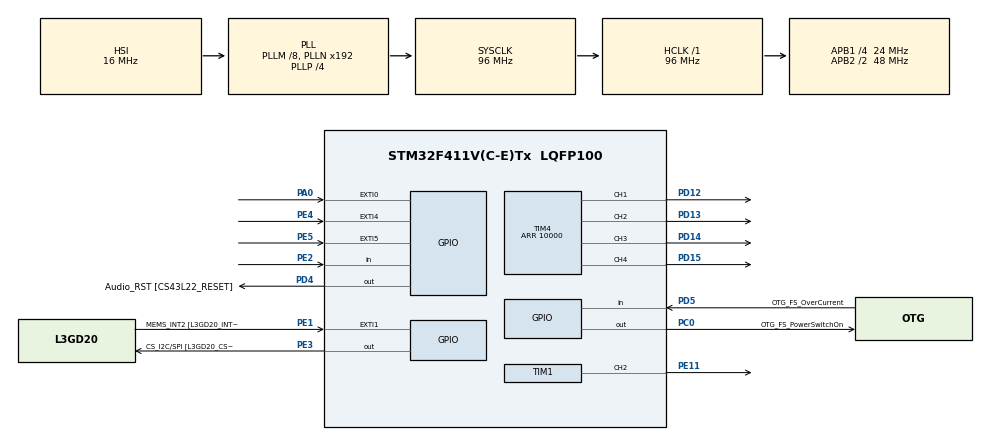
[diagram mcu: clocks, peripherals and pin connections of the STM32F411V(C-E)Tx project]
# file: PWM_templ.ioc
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Mcu.Family=STM32F4
Mcu.Name=STM32F411V(C-E)Tx
Mcu.Package=LQFP100
NVIC.PriorityGroup=NVIC_PRIORITYGROUP_0
NVIC.TIM4_IRQn=true\:0\:0\:false\:false\:true\:true\:true\:true
PA0-WKUP.GPIO_ModeDefaultEXTI=GPIO_MODE_EVT_RISING
PA0-WKUP.Signal=GPXTI0
PA10.GPIO_Label=OTG_FS_ID
PA10.Signal=USB_OTG_FS_ID
PA11.GPIO_Label=OTG_FS_DM
PA11.Signal=USB_OTG_FS_DM
PA12.GPIO_Label=OTG_FS_DP
PA12.Signal=USB_OTG_FS_DP
PA13.GPIO_Label=SWDIO
PA13.Signal=SYS_JTMS-SWDIO
PA14.GPIO_Label=SWCLK
PA14.Signal=SYS_JTCK-SWCLK
PA4.GPIO_Label=I2S3_WS [CS43L22_LRCK]
PA4.GPIO_Mode=GPIO_MODE_AF_PP
PA4.GPIO_PuPd=GPIO_NOPULL
PA4.GPIO_Speed=GPIO_SPEED_FREQ_LOW
PA4.Signal=I2S3_WS
PA5.GPIO_Label=SPI1_SCK [L3GD20_SC/SPC]
PA5.Signal=SPI1_SCK
PA6.GPIO_Label=SPI1_MISO [L3GD20_AS0/SDO]
PA6.Signal=SPI1_MISO
PA7.GPIO_Label=SPI1_MOSI [L3GD20_SDA/SDI/SDO]
PA7.Signal=SPI1_MOSI
PA9.GPIO_Label=VBUS_FS
PA9.Signal=USB_OTG_FS_VBUS
PB10.GPIO_Label=CLK_IN [MP45DT02_CLK]
PB10.Signal=I2S2_CK
PB12.Signal=I2S2_WS
PB3.GPIO_Label=SWO
PB3.Signal=SYS_JTDO-SWO
PB6.GPIO_Label=Audio_SCL [CS43L22_SCL]
PB6.GPIO_Mode=GPIO_MODE_AF_OD
PB6.GPIO_PuPd=GPIO_NOPULL
PB6.GPIO_Speed=GPIO_SPEED_FREQ_LOW
PB6.Signal=I2C1_SCL
PB9.GPIO_Label=Audio_SDA [CS43L22_SDA]
PB9.GPIO_Mode=GPIO_MODE_AF_OD
PB9.GPIO_PuPd=GPIO_NOPULL
PB9.GPIO_Speed=GPIO_SPEED_FREQ_LOW
PB9.Signal=I2C1_SDA
PC0.GPIO_Label=OTG_FS_PowerSwitchOn
PC0.PinState=GPIO_PIN_SET
PC0.Signal=GPIO_Output
PC10.GPIO_Label=I2S3_SCK [CS43L22_SCLK]
PC10.GPIO_Mode=GPIO_MODE_AF_PP
PC10.GPIO_PuPd=GPIO_NOPULL
PC10.GPIO_Speed=GPIO_SPEED_FREQ_LOW
PC10.Signal=I2S3_CK
PC12.GPIO_Label=I2S3_SD [CS43L22_SDIN]
PC12.GPIO_Mode=GPIO_MODE_AF_PP
PC12.GPIO_PuPd=GPIO_NOPULL
PC12.GPIO_Speed=GPIO_SPEED_FREQ_LOW
PC12.Signal=I2S3_SD
PC14-OSC32_IN.GPIO_Label=PC14-OSC32_IN
PC14-OSC32_IN.Signal=RCC_OSC32_IN
PC15-OSC32_OUT.GPIO_Label=PC15-OSC32_OUT
PC15-OSC32_OUT.Signal=RCC_OSC32_OUT
PC3.GPIO_Label=PDM_OUT [MP45DT02_DOUT]
PC3.Signal=I2S2_SD
PC7.GPIO_Label=I2S3_MCK [CS43L22_MCLK]
PC7.GPIO_Mode=GPIO_MODE_AF_PP
PC7.GPIO_PuPd=GPIO_NOPULL
PC7.GPIO_Speed=GPIO_SPEED_FREQ_LOW
PC7.Signal=I2S3_MCK
PD12.GPIO_Speed=GPIO_SPEED_FREQ_HIGH
PD12.Signal=S_TIM4_CH1
PD13.GPIO_Speed=GPIO_SPEED_FREQ_HIGH
PD13.Signal=S_TIM4_CH2
PD14.GPIO_Speed=GPIO_SPEED_FREQ_HIGH
PD14.Signal=S_TIM4_CH3
PD15.GPIO_Speed=GPIO_SPEED_FREQ_HIGH
PD15.Signal=S_TIM4_CH4
PD4.GPIO_Label=Audio_RST [CS43L22_RESET]
PD4.Signal=GPIO_Output
PD5.GPIO_Label=OTG_FS_OverCurrent
PD5.Signal=GPIO_Input
PE1.GPIO_Label=MEMS_INT2 [L3GD20_INT2]
PE1.GPIO_ModeDefaultEXTI=GPIO_MODE_EVT_RISING
PE1.Signal=GPXTI1
PE11.Signal=S_TIM1_CH2
PE2.Signal=GPIO_Input
PE3.GPIO_Label=CS_I2C/SPI [L3GD20_CS_I2C/SPI]
PE3.Signal=GPIO_Output
PE4.GPIO_ModeDefaultEXTI=GPIO_MODE_EVT_RISING
PE4.Signal=GPXTI4
PE5.GPIO_ModeDefaultEXTI=GPIO_MODE_EVT_RISING
PE5.Signal=GPXTI5
PH0\ -\ OSC_IN.GPIO_Label=PH0-OSC_IN
PH0\ -\ OSC_IN.Signal=RCC_OSC_IN
PH1\ -\ OSC_OUT.GPIO_Label=PH1-OSC_OUT
PH1\ -\ OSC_OUT.Signal=RCC_OSC_OUT
ProjectManager.HeapSize=0x200
ProjectManager.StackSize=0x400
ProjectManager.TargetToolchain=STM32CubeIDE
RCC.48MHZClocksFreq_Value=48000000
RCC.AHBFreq_Value=96000000
RCC.APB1CLKDivider=RCC_HCLK_DIV4
RCC.APB1Freq_Value=24000000
RCC.APB1TimFreq_Value=48000000
RCC.APB2CLKDivider=RCC_HCLK_DIV2
RCC.APB2Freq_Value=48000000
RCC.APB2TimFreq_Value=96000000
RCC.CortexFreq_Value=96000000
RCC.HCLKFreq_Value=96000000
RCC.HSE_VALUE=8000000
RCC.HSI_VALUE=16000000
RCC.LSE_VALUE=32768
RCC.PLLI2SM=5
RCC.PLLI2SN=200
RCC.PLLM=8
RCC.PLLP=RCC_PLLP_DIV4
RCC.PLLQ=8
RCC.SYSCLKFreq_VALUE=96000000
RCC.SYSCLKSource=RCC_SYSCLKSOURCE_PLLCLK
RCC.VCOOutputFreq_Value=384000000
SH.S_TIM1_CH2.0=TIM1_CH2,PWM Generation2 CH2
SH.S_TIM4_CH1.0=TIM4_CH1,PWM Generation1 CH1
SH.S_TIM4_CH2.0=TIM4_CH2,PWM Generation2 CH2
SH.S_TIM4_CH3.0=TIM4_CH3,PWM Generation3 CH3
SH.S_TIM4_CH4.0=TIM4_CH4,PWM Generation4 CH4
TIM1.Channel-PWM\ Generation2\ CH2=TIM_CHANNEL_2
TIM1.Period=20000
TIM1.Prescaler=95
TIM1.Pulse-PWM\ Generation2\ CH2=1000
TIM4.Channel-PWM\ Generation1\ CH1=TIM_CHANNEL_1
TIM4.Channel-PWM\ Generation2\ CH2=TIM_CHANNEL_2
TIM4.Channel-PWM\ Generation3\ CH3=TIM_CHANNEL_3
TIM4.Channel-PWM\ Generation4\ CH4=TIM_CHANNEL_4
TIM4.Period=10000
VP_TIM4_VS_ClockSourceINT.Mode=Internal
board=STM32F411E-DISCO

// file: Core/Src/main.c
/* USER CODE BEGIN Header */
/**
  ******************************************************************************
  * @file           : main.c
  * @brief          : Main program body
  ******************************************************************************
  * @attention
  *
  * Copyright (c) 2022 STMicroelectronics.
  * All rights reserved.
  *
  * This software is licensed under terms that can be found in the LICENSE file
  * in the root directory of this software component.
  * If no LICENSE file comes with this software, it is provided AS-IS.
  *
  ******************************************************************************
  */
/* USER CODE END Header */
#include <stdlib.h>
#include "main.h"

 TIM_HandleTypeDef htim1;
TIM_HandleTypeDef htim4;

void SystemClock_Config(void);
static void MX_GPIO_Init(void);
static void MX_TIM4_Init(void);
static void MX_TIM1_Init(void);

/* USER CODE BEGIN 0 */
int Set_Servo_Angle(uint8_t Angle) // from 0 to 180 degrees
{
  uint16_t Pulse_length = 500;

  if (Angle > 0  &&  Angle <= 180) {
      Pulse_length += (2700-500)/180 * Angle;
  }

  TIM1->CCR2=Pulse_length;
  return 0;
}

/* USER CODE END 0 */

int main(void)
{

  /* MCU Configuration--------------------------------------------------------*/

  /* Reset of all peripherals, Initializes the Flash interface and the Systick. */
  HAL_Init();

  /* Configure the system clock */
  SystemClock_Config();

  /* Initialize all configured peripherals */
  MX_GPIO_Init();
  MX_TIM4_Init();
  MX_TIM1_Init();
  /* USER CODE BEGIN 2 */
    HAL_TIM_PWM_Start(&htim4, TIM_CHANNEL_1);

    HAL_TIM_PWM_Start(&htim4, TIM_CHANNEL_2);

    HAL_TIM_PWM_Start(&htim4, TIM_CHANNEL_3);

    HAL_TIM_PWM_Start(&htim4, TIM_CHANNEL_4);

    HAL_TIM_PWM_Start(&htim1, TIM_CHANNEL_2); // таймер для сервопривода

    uint32_t i,d;

  /* USER CODE END 2 */

  /* Infinite loop */
  /* USER CODE BEGIN WHILE */
  while (1)
  {

      TIM4->CCR1= 10000;
      TIM4->CCR2= 10000;
      TIM4->CCR3= 10000;
      TIM4->CCR4= 10000;

      HAL_Delay(500);
      for (uint8_t a = 0; a<180; a++) {
          Set_Servo_Angle(a);
          HAL_Delay(5);
      }
      HAL_Delay(500);
      for (uint8_t a = 180; a>0; a--) {
          Set_Servo_Angle(a);
          HAL_Delay(5);
      }
    /* USER CODE END WHILE */

  }
}

void SystemClock_Config(void)
{
  RCC_OscInitTypeDef RCC_OscInitStruct = {0};
  RCC_ClkInitTypeDef RCC_ClkInitStruct = {0};

  /** Configure the main internal regulator output voltage
  */
  __HAL_RCC_PWR_CLK_ENABLE();
  __HAL_PWR_VOLTAGESCALING_CONFIG(PWR_REGULATOR_VOLTAGE_SCALE1);

  /** Initializes the RCC Oscillators according to the specified parameters
  * in the RCC_OscInitTypeDef structure.
  */
  RCC_OscInitStruct.OscillatorType = RCC_OSCILLATORTYPE_HSI;
  RCC_OscInitStruct.HSIState = RCC_HSI_ON;
  RCC_OscInitStruct.HSICalibrationValue = RCC_HSICALIBRATION_DEFAULT;
  RCC_OscInitStruct.PLL.PLLState = RCC_PLL_ON;
  RCC_OscInitStruct.PLL.PLLSource = RCC_PLLSOURCE_HSI;
  RCC_OscInitStruct.PLL.PLLM = 8;
  RCC_OscInitStruct.PLL.PLLN = 192;
  RCC_OscInitStruct.PLL.PLLP = RCC_PLLP_DIV4;
  RCC_OscInitStruct.PLL.PLLQ = 8;
  if (HAL_RCC_OscConfig(&RCC_OscInitStruct) != HAL_OK)
  {
    Error_Handler();
  }

  /** Initializes the CPU, AHB and APB buses clocks
  */
  RCC_ClkInitStruct.ClockType = RCC_CLOCKTYPE_HCLK|RCC_CLOCKTYPE_SYSCLK
                              |RCC_CLOCKTYPE_PCLK1|RCC_CLOCKTYPE_PCLK2;
  RCC_ClkInitStruct.SYSCLKSource = RCC_SYSCLKSOURCE_PLLCLK;
  RCC_ClkInitStruct.AHBCLKDivider = RCC_SYSCLK_DIV1;
  RCC_ClkInitStruct.APB1CLKDivider = RCC_HCLK_DIV4;
  RCC_ClkInitStruct.APB2CLKDivider = RCC_HCLK_DIV2;

  if (HAL_RCC_ClockConfig(&RCC_ClkInitStruct, FLASH_LATENCY_3) != HAL_OK)
  {
    Error_Handler();
  }
}

static void MX_TIM1_Init(void)
{

  TIM_MasterConfigTypeDef sMasterConfig = {0};
  TIM_OC_InitTypeDef sConfigOC = {0};
  TIM_BreakDeadTimeConfigTypeDef sBreakDeadTimeConfig = {0};

  htim1.Instance = TIM1;
  htim1.Init.Prescaler = 95;
  htim1.Init.CounterMode = TIM_COUNTERMODE_UP;
  htim1.Init.Period = 20000;
  htim1.Init.ClockDivision = TIM_CLOCKDIVISION_DIV1;
  htim1.Init.RepetitionCounter = 0;
  htim1.Init.AutoReloadPreload = TIM_AUTORELOAD_PRELOAD_DISABLE;
  if (HAL_TIM_PWM_Init(&htim1) != HAL_OK)
  {
    Error_Handler();
  }
  sMasterConfig.MasterOutputTrigger = TIM_TRGO_RESET;
  sMasterConfig.MasterSlaveMode = TIM_MASTERSLAVEMODE_DISABLE;
  if (HAL_TIMEx_MasterConfigSynchronization(&htim1, &sMasterConfig) != HAL_OK)
  {
    Error_Handler();
  }
  sConfigOC.OCMode = TIM_OCMODE_PWM1;
  sConfigOC.Pulse = 544;
  sConfigOC.OCPolarity = TIM_OCPOLARITY_HIGH;
  sConfigOC.OCNPolarity = TIM_OCNPOLARITY_HIGH;
  sConfigOC.OCFastMode = TIM_OCFAST_DISABLE;
  sConfigOC.OCIdleState = TIM_OCIDLESTATE_RESET;
  sConfigOC.OCNIdleState = TIM_OCNIDLESTATE_RESET;
  if (HAL_TIM_PWM_ConfigChannel(&htim1, &sConfigOC, TIM_CHANNEL_2) != HAL_OK)
  {
    Error_Handler();
  }
  sBreakDeadTimeConfig.OffStateRunMode = TIM_OSSR_DISABLE;
  sBreakDeadTimeConfig.OffStateIDLEMode = TIM_OSSI_DISABLE;
  sBreakDeadTimeConfig.LockLevel = TIM_LOCKLEVEL_OFF;
  sBreakDeadTimeConfig.DeadTime = 0;
  sBreakDeadTimeConfig.BreakState = TIM_BREAK_DISABLE;
  sBreakDeadTimeConfig.BreakPolarity = TIM_BREAKPOLARITY_HIGH;
  sBreakDeadTimeConfig.AutomaticOutput = TIM_AUTOMATICOUTPUT_DISABLE;
  if (HAL_TIMEx_ConfigBreakDeadTime(&htim1, &sBreakDeadTimeConfig) != HAL_OK)
  {
    Error_Handler();
  }
  HAL_TIM_MspPostInit(&htim1);

}

static void MX_TIM4_Init(void)
{

  TIM_ClockConfigTypeDef sClockSourceConfig = {0};
  TIM_MasterConfigTypeDef sMasterConfig = {0};
  TIM_OC_InitTypeDef sConfigOC = {0};

  htim4.Instance = TIM4;
  htim4.Init.Prescaler = 0;
  htim4.Init.CounterMode = TIM_COUNTERMODE_UP;
  htim4.Init.Period = 10000;
  htim4.Init.ClockDivision = TIM_CLOCKDIVISION_DIV1;
  htim4.Init.AutoReloadPreload = TIM_AUTORELOAD_PRELOAD_DISABLE;
  if (HAL_TIM_Base_Init(&htim4) != HAL_OK)
  {
    Error_Handler();
  }
  sClockSourceConfig.ClockSource = TIM_CLOCKSOURCE_INTERNAL;
  if (HAL_TIM_ConfigClockSource(&htim4, &sClockSourceConfig) != HAL_OK)
  {
    Error_Handler();
  }
  if (HAL_TIM_PWM_Init(&htim4) != HAL_OK)
  {
    Error_Handler();
  }
  sMasterConfig.MasterOutputTrigger = TIM_TRGO_RESET;
  sMasterConfig.MasterSlaveMode = TIM_MASTERSLAVEMODE_DISABLE;
  if (HAL_TIMEx_MasterConfigSynchronization(&htim4, &sMasterConfig) != HAL_OK)
  {
    Error_Handler();
  }
  sConfigOC.OCMode = TIM_OCMODE_PWM1;
  sConfigOC.Pulse = 0;
  sConfigOC.OCPolarity = TIM_OCPOLARITY_HIGH;
  sConfigOC.OCFastMode = TIM_OCFAST_DISABLE;
  if (HAL_TIM_PWM_ConfigChannel(&htim4, &sConfigOC, TIM_CHANNEL_1) != HAL_OK)
  {
    Error_Handler();
  }
  if (HAL_TIM_PWM_ConfigChannel(&htim4, &sConfigOC, TIM_CHANNEL_2) != HAL_OK)
  {
    Error_Handler();
  }
  if (HAL_TIM_PWM_ConfigChannel(&htim4, &sConfigOC, TIM_CHANNEL_3) != HAL_OK)
  {
    Error_Handler();
  }
  if (HAL_TIM_PWM_ConfigChannel(&htim4, &sConfigOC, TIM_CHANNEL_4) != HAL_OK)
  {
    Error_Handler();
  }
  HAL_TIM_MspPostInit(&htim4);

}

static void MX_GPIO_Init(void)
{
  GPIO_InitTypeDef GPIO_InitStruct = {0};

  /* GPIO Ports Clock Enable */
  __HAL_RCC_GPIOE_CLK_ENABLE();
  __HAL_RCC_GPIOC_CLK_ENABLE();
  __HAL_RCC_GPIOH_CLK_ENABLE();
  __HAL_RCC_GPIOA_CLK_ENABLE();
  __HAL_RCC_GPIOB_CLK_ENABLE();
  __HAL_RCC_GPIOD_CLK_ENABLE();

  /*Configure GPIO pin Output Level */
  HAL_GPIO_WritePin(CS_I2C_SPI_GPIO_Port, CS_I2C_SPI_Pin, GPIO_PIN_RESET);

  /*Configure GPIO pin Output Level */
  HAL_GPIO_WritePin(OTG_FS_PowerSwitchOn_GPIO_Port, OTG_FS_PowerSwitchOn_Pin, GPIO_PIN_SET);

  /*Configure GPIO pin Output Level */
  HAL_GPIO_WritePin(Audio_RST_GPIO_Port, Audio_RST_Pin, GPIO_PIN_RESET);

  /*Configure GPIO pin : PE2 */
  GPIO_InitStruct.Pin = GPIO_PIN_2;
  GPIO_InitStruct.Mode = GPIO_MODE_INPUT;
  GPIO_InitStruct.Pull = GPIO_NOPULL;
  HAL_GPIO_Init(GPIOE, &GPIO_InitStruct);

  /*Configure GPIO pin : CS_I2C_SPI_Pin */
  GPIO_InitStruct.Pin = CS_I2C_SPI_Pin;
  GPIO_InitStruct.Mode = GPIO_MODE_OUTPUT_PP;
  GPIO_InitStruct.Pull = GPIO_NOPULL;
  GPIO_InitStruct.Speed = GPIO_SPEED_FREQ_LOW;
  HAL_GPIO_Init(CS_I2C_SPI_GPIO_Port, &GPIO_InitStruct);

  /*Configure GPIO pins : PE4 PE5 MEMS_INT2_Pin */
  GPIO_InitStruct.Pin = GPIO_PIN_4|GPIO_PIN_5|MEMS_INT2_Pin;
  GPIO_InitStruct.Mode = GPIO_MODE_EVT_RISING;
  GPIO_InitStruct.Pull = GPIO_NOPULL;
  HAL_GPIO_Init(GPIOE, &GPIO_InitStruct);

  /*Configure GPIO pin : OTG_FS_PowerSwitchOn_Pin */
  GPIO_InitStruct.Pin = OTG_FS_PowerSwitchOn_Pin;
  GPIO_InitStruct.Mode = GPIO_MODE_OUTPUT_PP;
  GPIO_InitStruct.Pull = GPIO_NOPULL;
  GPIO_InitStruct.Speed = GPIO_SPEED_FREQ_LOW;
  HAL_GPIO_Init(OTG_FS_PowerSwitchOn_GPIO_Port, &GPIO_InitStruct);

  /*Configure GPIO pin : PDM_OUT_Pin */
  GPIO_InitStruct.Pin = PDM_OUT_Pin;
  GPIO_InitStruct.Mode = GPIO_MODE_AF_PP;
  GPIO_InitStruct.Pull = GPIO_NOPULL;
  GPIO_InitStruct.Speed = GPIO_SPEED_FREQ_LOW;
  GPIO_InitStruct.Alternate = GPIO_AF5_SPI2;
  HAL_GPIO_Init(PDM_OUT_GPIO_Port, &GPIO_InitStruct);

  /*Configure GPIO pin : PA0 */
  GPIO_InitStruct.Pin = GPIO_PIN_0;
  GPIO_InitStruct.Mode = GPIO_MODE_EVT_RISING;
  GPIO_InitStruct.Pull = GPIO_NOPULL;
  HAL_GPIO_Init(GPIOA, &GPIO_InitStruct);

  /*Configure GPIO pin : I2S3_WS_Pin */
  GPIO_InitStruct.Pin = I2S3_WS_Pin;
  GPIO_InitStruct.Mode = GPIO_MODE_AF_PP;
  GPIO_InitStruct.Pull = GPIO_NOPULL;
  GPIO_InitStruct.Speed = GPIO_SPEED_FREQ_LOW;
  GPIO_InitStruct.Alternate = GPIO_AF6_SPI3;
  HAL_GPIO_Init(I2S3_WS_GPIO_Port, &GPIO_InitStruct);

  /*Configure GPIO pins : SPI1_SCK_Pin SPI1_MISO_Pin SPI1_MOSI_Pin */
  GPIO_InitStruct.Pin = SPI1_SCK_Pin|SPI1_MISO_Pin|SPI1_MOSI_Pin;
  GPIO_InitStruct.Mode = GPIO_MODE_AF_PP;
  GPIO_InitStruct.Pull = GPIO_NOPULL;
  GPIO_InitStruct.Speed = GPIO_SPEED_FREQ_VERY_HIGH;
  GPIO_InitStruct.Alternate = GPIO_AF5_SPI1;
  HAL_GPIO_Init(GPIOA, &GPIO_InitStruct);

  /*Configure GPIO pins : CLK_IN_Pin PB12 */
  GPIO_InitStruct.Pin = CLK_IN_Pin|GPIO_PIN_12;
  GPIO_InitStruct.Mode = GPIO_MODE_AF_PP;
  GPIO_InitStruct.Pull = GPIO_NOPULL;
  GPIO_InitStruct.Speed = GPIO_SPEED_FREQ_LOW;
  GPIO_InitStruct.Alternate = GPIO_AF5_SPI2;
  HAL_GPIO_Init(GPIOB, &GPIO_InitStruct);

  /*Configure GPIO pins : I2S3_MCK_Pin I2S3_SCK_Pin I2S3_SD_Pin */
  GPIO_InitStruct.Pin = I2S3_MCK_Pin|I2S3_SCK_Pin|I2S3_SD_Pin;
  GPIO_InitStruct.Mode = GPIO_MODE_AF_PP;
  GPIO_InitStruct.Pull = GPIO_NOPULL;
  GPIO_InitStruct.Speed = GPIO_SPEED_FREQ_LOW;
  GPIO_InitStruct.Alternate = GPIO_AF6_SPI3;
  HAL_GPIO_Init(GPIOC, &GPIO_InitStruct);

  /*Configure GPIO pin : VBUS_FS_Pin */
  GPIO_InitStruct.Pin = VBUS_FS_Pin;
  GPIO_InitStruct.Mode = GPIO_MODE_INPUT;
  GPIO_InitStruct.Pull = GPIO_NOPULL;
  HAL_GPIO_Init(VBUS_FS_GPIO_Port, &GPIO_InitStruct);

  /*Configure GPIO pins : OTG_FS_ID_Pin OTG_FS_DM_Pin OTG_FS_DP_Pin */
  GPIO_InitStruct.Pin = OTG_FS_ID_Pin|OTG_FS_DM_Pin|OTG_FS_DP_Pin;
  GPIO_InitStruct.Mode = GPIO_MODE_AF_PP;
  GPIO_InitStruct.Pull = GPIO_NOPULL;
  GPIO_InitStruct.Speed = GPIO_SPEED_FREQ_VERY_HIGH;
  GPIO_InitStruct.Alternate = GPIO_AF10_OTG_FS;
  HAL_GPIO_Init(GPIOA, &GPIO_InitStruct);

  /*Configure GPIO pin : Audio_RST_Pin */
  GPIO_InitStruct.Pin = Audio_RST_Pin;
  GPIO_InitStruct.Mode = GPIO_MODE_OUTPUT_PP;
  GPIO_InitStruct.Pull = GPIO_NOPULL;
  GPIO_InitStruct.Speed = GPIO_SPEED_FREQ_LOW;
  HAL_GPIO_Init(Audio_RST_GPIO_Port, &GPIO_InitStruct);

  /*Configure GPIO pin : OTG_FS_OverCurrent_Pin */
  GPIO_InitStruct.Pin = OTG_FS_OverCurrent_Pin;
  GPIO_InitStruct.Mode = GPIO_MODE_INPUT;
  GPIO_InitStruct.Pull = GPIO_NOPULL;
  HAL_GPIO_Init(OTG_FS_OverCurrent_GPIO_Port, &GPIO_InitStruct);

  /*Configure GPIO pins : Audio_SCL_Pin Audio_SDA_Pin */
  GPIO_InitStruct.Pin = Audio_SCL_Pin|Audio_SDA_Pin;
  GPIO_InitStruct.Mode = GPIO_MODE_AF_OD;
  GPIO_InitStruct.Pull = GPIO_NOPULL;
  GPIO_InitStruct.Speed = GPIO_SPEED_FREQ_LOW;
  GPIO_InitStruct.Alternate = GPIO_AF4_I2C1;
  HAL_GPIO_Init(GPIOB, &GPIO_InitStruct);

}

void Error_Handler(void)
{
  __disable_irq();
  while (1)
  {
  }
}
